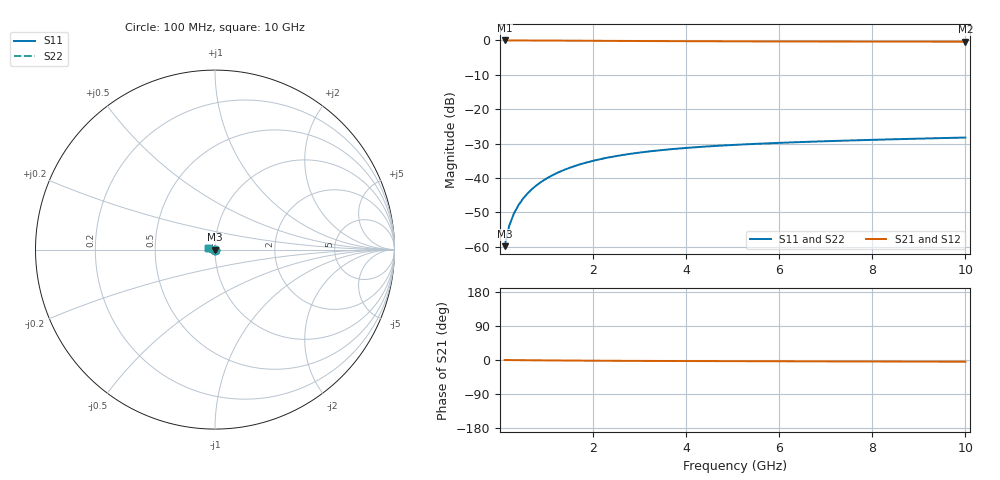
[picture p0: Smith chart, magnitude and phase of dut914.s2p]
! Touchstone file exported from HFSS 2024.1.0
!  File:  C:/UserFiles/LocalFiles/RDL_TSV_Batchsim/temp_TSV1_914_1779945558.aedt
!  Generated:  01:24:47 PM May 28, 2026
!  Design:  TSV1
!  Project:  temp_TSV1_914_1779945558
!  Setup:  Setup1
!  Solution:  Sweep
! Variables:
!  dtsv = 10.09um
!  hbump = 3um
!  htsv = 67.93um
!  lrdl = 252.1521522um
!  p = 40
!  p1 = 54.22um
!  t = 500um
!  trdl = 3um
!  wrdl = 24.89489489um
# GHz S MA R 50.000000
! Terminal data exported
! Port[1] = TSV22_T1
! Port[2] = TSV22_T2
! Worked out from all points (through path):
!   100 points, 100 MHz to 10 GHz, reference 50 ohm
!   highest |S21| = 0.00 dB at 100 MHz (marker M1); lowest = -0.4 dB at 10 GHz (marker M2)
!   lowest |S11| = -59.8 dB at 100 MHz (marker M3), VSWR 1.00, Z = 50 - j0.102 ohm
!   |S11| at or under -10 dB: start of sweep to end of sweep
!   |S22| runs from -59.8 to -28.2 dB; largest |S21 - S12| = 1.4e-14
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0.1  0.00102 -84.7  0.9998 -0.1  0.9998 -0.1  0.00102 -84.7
! Gamma 0 0 0 0
! Port Impedance 50 0 50 0
0.2  0.002029 -90.2  0.9997 -0.2  0.9997 -0.2  0.002029 -90.2
0.3  0.00304 -93.3  0.9995 -0.3  0.9995 -0.3  0.00304 -93.3
0.4  0.004047 -95.8  0.9993 -0.4  0.9993 -0.4  0.004047 -95.8
0.5  0.005046 -98.2  0.9989 -0.5  0.9989 -0.5  0.005046 -98.2
0.6  0.006033 -100.4  0.9986 -0.6  0.9986 -0.6  0.006033 -100.4
0.7  0.007006 -102.5  0.9981 -0.7  0.9981 -0.7  0.007006 -102.5
0.8  0.007963 -104.6  0.9976 -0.8  0.9976 -0.8  0.007963 -104.6
0.9  0.008902 -106.6  0.9971 -0.9  0.9971 -0.9  0.008902 -106.6
1.1  0.01072 -110.5  0.9959 -1.1  0.9959 -1.1  0.01072 -110.5
1.4  0.01328 -116.0  0.9938 -1.4  0.9938 -1.4  0.01328 -116.0
1.6  0.01487 -119.5  0.9923 -1.5  0.9923 -1.5  0.01487 -119.5
1.8  0.01636 -122.9  0.9907 -1.7  0.9907 -1.7  0.01636 -122.9
2.1  0.01842 -127.7  0.9883 -1.9  0.9883 -1.9  0.01842 -127.7
2.5  0.02084 -133.6  0.9852 -2.1  0.9852 -2.1  0.02084 -133.6
2.9  0.02294 -139.0  0.9823 -2.3  0.9823 -2.3  0.02294 -139.0
3.4  0.02515 -145.1  0.9789 -2.5  0.9789 -2.5  0.02515 -145.1
4.2  0.02799 -153.5  0.9744 -2.8  0.9744 -2.8  0.02799 -153.5
5.1  0.03045 -161.6  0.9704 -3.1  0.9704 -3.1  0.03045 -161.6
6.7  0.03373 -173.3  0.9654 -3.6  0.9654 -3.6  0.03373 -173.3
8.4  0.03646 176.7  0.962 -4.1  0.962 -4.1  0.03646 176.7
10  0.03874 168.9  0.9598 -4.5  0.9598 -4.5  0.03874 168.9
